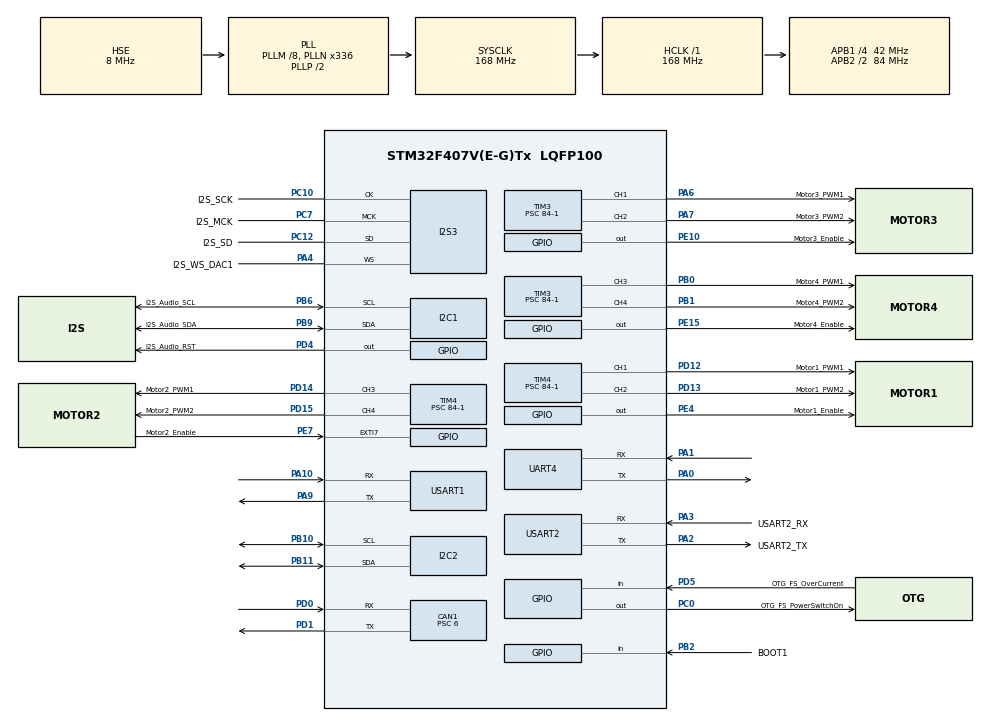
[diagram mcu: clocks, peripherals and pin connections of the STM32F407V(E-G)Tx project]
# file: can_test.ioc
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CAN1.BS1=CAN_BS1_11TQ
CAN1.BS2=CAN_BS2_2TQ
CAN1.CalculateBaudRate=500000
CAN1.CalculateTimeBit=2000
CAN1.CalculateTimeQuantum=142.85714285714286
CAN1.Prescaler=6
I2S3.AudioFreq-Half_Duplex_Master=I2S_AUDIOFREQ_96K
I2S3.ErrorAudioFreq=-2.34 %
I2S3.ErrorAudioFreq-Half_Duplex_Master=0.8 %
I2S3.FullDuplexMode=I2S_FULLDUPLEXMODE_DISABLE
I2S3.Instance=SPI$Index
I2S3.RealAudioFreq=93.75 KHz
I2S3.RealAudioFreq-Half_Duplex_Master=96.774 KHz
I2S3.VirtualMode=I2S_MODE_MASTER
Mcu.Family=STM32F4
Mcu.Name=STM32F407V(E-G)Tx
Mcu.Package=LQFP100
NVIC.CAN1_RX0_IRQn=true\:0\:0\:false\:false\:true\:true\:true\:true
NVIC.PriorityGroup=NVIC_PRIORITYGROUP_0
NVIC.TIM1_UP_TIM10_IRQn=true\:0\:0\:false\:false\:true\:true\:true\:true
NVIC.USART2_IRQn=true\:0\:0\:false\:false\:true\:true\:true\:true
PA0-WKUP.Mode=Asynchronous
PA0-WKUP.Signal=UART4_TX
PA1.Mode=Asynchronous
PA1.Signal=UART4_RX
PA10.Mode=Asynchronous
PA10.Signal=USART1_RX
PA13.GPIO_Label=SWDIO
PA13.Mode=Serial_Wire
PA13.Signal=SYS_JTMS-SWDIO
PA14.GPIO_Label=SWCLK
PA14.Mode=Serial_Wire
PA14.Signal=SYS_JTCK-SWCLK
PA2.GPIO_Label=USART2_TX
PA2.Mode=Asynchronous
PA2.Signal=USART2_TX
PA3.GPIO_Label=USART2_RX
PA3.Mode=Asynchronous
PA3.Signal=USART2_RX
PA4.GPIO_Label=I2S_WS_DAC1
PA4.GPIO_Mode=GPIO_MODE_AF_PP
PA4.GPIO_PuPd=GPIO_NOPULL
PA4.GPIO_Speed=GPIO_SPEED_FREQ_LOW
PA4.Mode=Half_Duplex_Master
PA4.Signal=I2S3_WS
PA6.GPIO_Label=Motor3_PWM1
PA6.Signal=S_TIM3_CH1
PA7.GPIO_Label=Motor3_PWM2
PA7.Signal=S_TIM3_CH2
PA9.Mode=Asynchronous
PA9.Signal=USART1_TX
PB0.GPIO_Label=Motor4_PWM1
PB0.Signal=S_TIM3_CH3
PB1.GPIO_Label=Motor4_PWM2
PB1.Signal=S_TIM3_CH4
PB10.Mode=I2C
PB10.Signal=I2C2_SCL
PB11.Mode=I2C
PB11.Signal=I2C2_SDA
PB2.GPIO_Label=BOOT1
PB2.GPIO_Mode=GPIO_MODE_INPUT
PB2.GPIO_PuPd=GPIO_NOPULL
PB2.Signal=GPIO_Input
PB6.GPIO_Label=I2S_Audio_SCL
PB6.GPIO_Mode=GPIO_MODE_AF_OD
PB6.GPIO_Pu=GPIO_PULLUP
PB6.GPIO_PuPd=GPIO_NOPULL
PB6.GPIO_Speed=GPIO_SPEED_FREQ_LOW
PB6.Mode=I2C
PB6.Signal=I2C1_SCL
PB9.GPIO_Label=I2S_Audio_SDA
PB9.GPIO_Mode=GPIO_MODE_AF_OD
PB9.GPIO_Pu=GPIO_PULLUP
PB9.GPIO_PuPd=GPIO_NOPULL
PB9.GPIO_Speed=GPIO_SPEED_FREQ_LOW
PB9.Mode=I2C
PB9.Signal=I2C1_SDA
PC0.GPIO_Label=OTG_FS_PowerSwitchOn
PC0.GPIO_PuPd=GPIO_NOPULL
PC0.GPIO_Speed=GPIO_SPEED_FREQ_LOW
PC0.PinState=GPIO_PIN_SET
PC0.Signal=GPIO_Output
PC10.GPIO_Label=I2S_SCK
PC10.GPIO_Mode=GPIO_MODE_AF_PP
PC10.GPIO_PuPd=GPIO_NOPULL
PC10.GPIO_Speed=GPIO_SPEED_FREQ_LOW
PC10.Mode=Half_Duplex_Master
PC10.Signal=I2S3_CK
PC12.GPIO_Label=I2S_SD
PC12.GPIO_Mode=GPIO_MODE_AF_PP
PC12.GPIO_PuPd=GPIO_NOPULL
PC12.GPIO_Speed=GPIO_SPEED_FREQ_LOW
PC12.Mode=Half_Duplex_Master
PC12.Signal=I2S3_SD
PC14-OSC32_IN.GPIO_Label=PC14-OSC32_IN
PC14-OSC32_IN.Mode=LSE-External-Oscillator
PC14-OSC32_IN.Signal=RCC_OSC32_IN
PC15-OSC32_OUT.GPIO_Label=PC15-OSC32_OUT
PC15-OSC32_OUT.Mode=LSE-External-Oscillator
PC15-OSC32_OUT.Signal=RCC_OSC32_OUT
PC7.GPIO_Label=I2S_MCK
PC7.GPIO_Mode=GPIO_MODE_AF_PP
PC7.GPIO_PuPd=GPIO_NOPULL
PC7.GPIO_Speed=GPIO_SPEED_FREQ_LOW
PC7.Mode=Master_Clock_Activated
PC7.Signal=I2S3_MCK
PD0.Mode=CAN_Activate
PD0.Signal=CAN1_RX
PD1.Mode=CAN_Activate
PD1.Signal=CAN1_TX
PD12.GPIO_Label=Motor1_PWM1
PD12.Signal=S_TIM4_CH1
PD13.GPIO_Label=Motor1_PWM2
PD13.Signal=S_TIM4_CH2
PD14.GPIO_Label=Motor2_PWM1
PD14.Signal=S_TIM4_CH3
PD15.GPIO_Label=Motor2_PWM2
PD15.Signal=S_TIM4_CH4
PD4.GPIO_Label=I2S_Audio_RST
PD4.GPIO_PuPd=GPIO_NOPULL
PD4.GPIO_Speed=GPIO_SPEED_FREQ_LOW
PD4.Signal=GPIO_Output
PD5.GPIO_Label=OTG_FS_OverCurrent
PD5.GPIO_Mode=GPIO_MODE_INPUT
PD5.GPIO_PuPd=GPIO_NOPULL
PD5.Signal=GPIO_Input
PE10.GPIO_Label=Motor3_Enable
PE10.Signal=GPIO_Output
PE15.GPIO_Label=Motor4_Enable
PE15.Signal=GPIO_Output
PE4.GPIO_Label=Motor1_Enable
PE4.Signal=GPIO_Output
PE7.GPIO_Label=Motor2_Enable
PE7.Signal=GPXTI7
PH0-OSC_IN.GPIO_Label=PH0-OSC_IN
PH0-OSC_IN.Mode=HSE-External-Oscillator
PH0-OSC_IN.Signal=RCC_OSC_IN
PH1-OSC_OUT.GPIO_Label=PH1-OSC_OUT
PH1-OSC_OUT.Mode=HSE-External-Oscillator
PH1-OSC_OUT.Signal=RCC_OSC_OUT
ProjectManager.HeapSize=0x200
ProjectManager.StackSize=0x400
ProjectManager.TargetToolchain=STM32CubeIDE
RCC.48MHZClocksFreq_Value=48000000
RCC.AHBFreq_Value=168000000
RCC.APB1CLKDivider=RCC_HCLK_DIV4
RCC.APB1Freq_Value=42000000
RCC.APB1TimFreq_Value=84000000
RCC.APB2CLKDivider=RCC_HCLK_DIV2
RCC.APB2Freq_Value=84000000
RCC.APB2TimFreq_Value=168000000
RCC.CortexFreq_Value=168000000
RCC.HCLKFreq_Value=168000000
RCC.HSE_VALUE=8000000
RCC.HSI_VALUE=16000000
RCC.PLLM=8
RCC.PLLN=336
RCC.PLLQ=7
RCC.PLLSourceVirtual=RCC_PLLSOURCE_HSE
RCC.SYSCLKFreq_VALUE=168000000
RCC.SYSCLKSource=RCC_SYSCLKSOURCE_PLLCLK
RCC.VCOOutputFreq_Value=336000000
SH.S_TIM3_CH1.0=TIM3_CH1,PWM Generation1 CH1
SH.S_TIM3_CH2.0=TIM3_CH2,PWM Generation2 CH2
SH.S_TIM3_CH3.0=TIM3_CH3,PWM Generation3 CH3
SH.S_TIM3_CH4.0=TIM3_CH4,PWM Generation4 CH4
SH.S_TIM4_CH1.0=TIM4_CH1,PWM Generation1 CH1
SH.S_TIM4_CH2.0=TIM4_CH2,PWM Generation2 CH2
SH.S_TIM4_CH3.0=TIM4_CH3,PWM Generation3 CH3
SH.S_TIM4_CH4.0=TIM4_CH4,PWM Generation4 CH4
TIM1.Period=10000-1
TIM1.Prescaler=1680-1
TIM1.TIM_MasterOutputTrigger=TIM_TRGO_UPDATE
TIM3.Channel-PWM\ Generation1\ CH1=TIM_CHANNEL_1
TIM3.Channel-PWM\ Generation2\ CH2=TIM_CHANNEL_2
TIM3.Channel-PWM\ Generation3\ CH3=TIM_CHANNEL_3
TIM3.Channel-PWM\ Generation4\ CH4=TIM_CHANNEL_4
TIM3.Period=100-1
TIM3.Prescaler=84-1
TIM4.Channel-PWM\ Generation1\ CH1=TIM_CHANNEL_1
TIM4.Channel-PWM\ Generation2\ CH2=TIM_CHANNEL_2
TIM4.Channel-PWM\ Generation3\ CH3=TIM_CHANNEL_3
TIM4.Channel-PWM\ Generation4\ CH4=TIM_CHANNEL_4
TIM4.Period=100-1
TIM4.Prescaler=84-1
UART4.VirtualMode=Asynchronous
USART1.VirtualMode=VM_ASYNC
USART2.VirtualMode=VM_ASYNC
VP_TIM1_VS_ClockSourceINT.Mode=Internal
VP_TIM3_VS_ClockSourceINT.Mode=Internal
VP_TIM4_VS_ClockSourceINT.Mode=Internal
board=STM32F407G-DISC1

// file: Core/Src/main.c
/* USER CODE BEGIN Header */
/**
  ******************************************************************************
  * @file           : main.c
  * @brief          : Main program body
  ******************************************************************************
  * @attention
  *
  * Copyright (c) 2023 STMicroelectronics.
  * All rights reserved.
  *
  * This software is licensed under terms that can be found in the LICENSE file
  * in the root directory of this software component.
  * If no LICENSE file comes with this software, it is provided AS-IS.
  *
  ******************************************************************************
  */
/* USER CODE END Header */
#include "main.h"

CAN_HandleTypeDef hcan1;

I2C_HandleTypeDef hi2c1;
I2C_HandleTypeDef hi2c2;

I2S_HandleTypeDef hi2s3;

TIM_HandleTypeDef htim1;
TIM_HandleTypeDef htim3;
TIM_HandleTypeDef htim4;

UART_HandleTypeDef huart4;
UART_HandleTypeDef huart1;
UART_HandleTypeDef huart2;

/* USER CODE BEGIN PV */
CAN_RxHeaderTypeDef rxHeader; //CAN Bus Transmit Header
CAN_TxHeaderTypeDef txHeader; //CAN Bus Receive Header
uint8_t canRX[8] = {0,0,0,0,0,0,0,0};  //CAN Bus Receive Buffer
CAN_FilterTypeDef canfil; //CAN Bus Filter
uint32_t canMailbox; //CAN Bus Mail box variable

/* USER CODE END PV */

void SystemClock_Config(void);
static void MX_GPIO_Init(void);
static void MX_I2C1_Init(void);
static void MX_I2S3_Init(void);
static void MX_I2C2_Init(void);
static void MX_TIM3_Init(void);
static void MX_TIM4_Init(void);
static void MX_UART4_Init(void);
static void MX_USART1_UART_Init(void);
static void MX_USART2_UART_Init(void);
static void MX_CAN1_Init(void);
static void MX_TIM1_Init(void);

/* USER CODE BEGIN 0 */
void HAL_CAN_RxFifo0MsgPendingCallback(CAN_HandleTypeDef *hcan1)
{
	HAL_CAN_GetRxMessage(hcan1, CAN_RX_FIFO0, &rxHeader, canRX); //Receive CAN bus message to canRX buffer
}

void HAL_TIM_PeriodElapsedCallback(TIM_HandleTypeDef *htim)
{
	if(htim->Instance == htim1.Instance)
	{
		uint8_t csend[] = {0x01,0x02,0x03,0x04,0x05,0x06,0x07,0x08}; // Tx Buffer
		HAL_CAN_AddTxMessage(&hcan1,&txHeader,csend,&canMailbox); // Send Message
	}
}
/* USER CODE END 0 */

int main(void)
{

  /* MCU Configuration--------------------------------------------------------*/

  /* Reset of all peripherals, Initializes the Flash interface and the Systick. */
  HAL_Init();

  /* Configure the system clock */
  SystemClock_Config();

  /* Initialize all configured peripherals */
  MX_GPIO_Init();
  MX_I2C1_Init();
  MX_I2S3_Init();
  MX_I2C2_Init();
  MX_TIM3_Init();
  MX_TIM4_Init();
  MX_UART4_Init();
  MX_USART1_UART_Init();
  MX_USART2_UART_Init();
  MX_CAN1_Init();
  MX_TIM1_Init();
  /* USER CODE BEGIN 2 */
  canfil.FilterBank = 0;
  canfil.FilterMode = CAN_FILTERMODE_IDMASK;
  canfil.FilterFIFOAssignment = CAN_RX_FIFO0;
  canfil.FilterIdHigh = 0;
  canfil.FilterIdLow = 0;
  canfil.FilterMaskIdHigh = 0;
  canfil.FilterMaskIdLow = 0;
  canfil.FilterScale = CAN_FILTERSCALE_32BIT;
  canfil.FilterActivation = ENABLE;
  canfil.SlaveStartFilterBank = 14;

  txHeader.DLC = 8; // Number of bites to be transmitted max- 8
  txHeader.IDE = CAN_ID_STD;
  txHeader.RTR = CAN_RTR_DATA;
  txHeader.StdId = 0x030;
  txHeader.ExtId = 0x02;
  txHeader.TransmitGlobalTime = DISABLE;

  HAL_CAN_ConfigFilter(&hcan1,&canfil); //Initialize CAN Filter
  HAL_CAN_Start(&hcan1); //Initialize CAN Bus
  HAL_CAN_ActivateNotification(&hcan1,CAN_IT_RX_FIFO0_MSG_PENDING);// Initialize CAN Bus Rx Interrupt

  HAL_TIM_Base_Start_IT(&htim1);
  /* USER CODE END 2 */

  /* Infinite loop */
  while (1)
  {

  }
}

void SystemClock_Config(void)
{
  RCC_OscInitTypeDef RCC_OscInitStruct = {0};
  RCC_ClkInitTypeDef RCC_ClkInitStruct = {0};

  /** Configure the main internal regulator output voltage
  */
  __HAL_RCC_PWR_CLK_ENABLE();
  __HAL_PWR_VOLTAGESCALING_CONFIG(PWR_REGULATOR_VOLTAGE_SCALE1);

  /** Initializes the RCC Oscillators according to the specified parameters
  * in the RCC_OscInitTypeDef structure.
  */
  RCC_OscInitStruct.OscillatorType = RCC_OSCILLATORTYPE_HSE;
  RCC_OscInitStruct.HSEState = RCC_HSE_ON;
  RCC_OscInitStruct.PLL.PLLState = RCC_PLL_ON;
  RCC_OscInitStruct.PLL.PLLSource = RCC_PLLSOURCE_HSE;
  RCC_OscInitStruct.PLL.PLLM = 8;
  RCC_OscInitStruct.PLL.PLLN = 336;
  RCC_OscInitStruct.PLL.PLLP = RCC_PLLP_DIV2;
  RCC_OscInitStruct.PLL.PLLQ = 7;
  if (HAL_RCC_OscConfig(&RCC_OscInitStruct) != HAL_OK)
  {
    Error_Handler();
  }

  /** Initializes the CPU, AHB and APB buses clocks
  */
  RCC_ClkInitStruct.ClockType = RCC_CLOCKTYPE_HCLK|RCC_CLOCKTYPE_SYSCLK
                              |RCC_CLOCKTYPE_PCLK1|RCC_CLOCKTYPE_PCLK2;
  RCC_ClkInitStruct.SYSCLKSource = RCC_SYSCLKSOURCE_PLLCLK;
  RCC_ClkInitStruct.AHBCLKDivider = RCC_SYSCLK_DIV1;
  RCC_ClkInitStruct.APB1CLKDivider = RCC_HCLK_DIV4;
  RCC_ClkInitStruct.APB2CLKDivider = RCC_HCLK_DIV2;

  if (HAL_RCC_ClockConfig(&RCC_ClkInitStruct, FLASH_LATENCY_5) != HAL_OK)
  {
    Error_Handler();
  }
}

static void MX_CAN1_Init(void)
{

  hcan1.Instance = CAN1;
  hcan1.Init.Prescaler = 6;
  hcan1.Init.Mode = CAN_MODE_NORMAL;
  hcan1.Init.SyncJumpWidth = CAN_SJW_1TQ;
  hcan1.Init.TimeSeg1 = CAN_BS1_11TQ;
  hcan1.Init.TimeSeg2 = CAN_BS2_2TQ;
  hcan1.Init.TimeTriggeredMode = DISABLE;
  hcan1.Init.AutoBusOff = DISABLE;
  hcan1.Init.AutoWakeUp = DISABLE;
  hcan1.Init.AutoRetransmission = DISABLE;
  hcan1.Init.ReceiveFifoLocked = DISABLE;
  hcan1.Init.TransmitFifoPriority = DISABLE;
  if (HAL_CAN_Init(&hcan1) != HAL_OK)
  {
    Error_Handler();
  }

}

static void MX_I2C1_Init(void)
{

  hi2c1.Instance = I2C1;
  hi2c1.Init.ClockSpeed = 100000;
  hi2c1.Init.DutyCycle = I2C_DUTYCYCLE_2;
  hi2c1.Init.OwnAddress1 = 0;
  hi2c1.Init.AddressingMode = I2C_ADDRESSINGMODE_7BIT;
  hi2c1.Init.DualAddressMode = I2C_DUALADDRESS_DISABLE;
  hi2c1.Init.OwnAddress2 = 0;
  hi2c1.Init.GeneralCallMode = I2C_GENERALCALL_DISABLE;
  hi2c1.Init.NoStretchMode = I2C_NOSTRETCH_DISABLE;
  if (HAL_I2C_Init(&hi2c1) != HAL_OK)
  {
    Error_Handler();
  }

}

static void MX_I2C2_Init(void)
{

  hi2c2.Instance = I2C2;
  hi2c2.Init.ClockSpeed = 100000;
  hi2c2.Init.DutyCycle = I2C_DUTYCYCLE_2;
  hi2c2.Init.OwnAddress1 = 0;
  hi2c2.Init.AddressingMode = I2C_ADDRESSINGMODE_7BIT;
  hi2c2.Init.DualAddressMode = I2C_DUALADDRESS_DISABLE;
  hi2c2.Init.OwnAddress2 = 0;
  hi2c2.Init.GeneralCallMode = I2C_GENERALCALL_DISABLE;
  hi2c2.Init.NoStretchMode = I2C_NOSTRETCH_DISABLE;
  if (HAL_I2C_Init(&hi2c2) != HAL_OK)
  {
    Error_Handler();
  }

}

static void MX_I2S3_Init(void)
{

  hi2s3.Instance = SPI3;
  hi2s3.Init.Mode = I2S_MODE_MASTER_TX;
  hi2s3.Init.Standard = I2S_STANDARD_PHILIPS;
  hi2s3.Init.DataFormat = I2S_DATAFORMAT_16B;
  hi2s3.Init.MCLKOutput = I2S_MCLKOUTPUT_ENABLE;
  hi2s3.Init.AudioFreq = I2S_AUDIOFREQ_96K;
  hi2s3.Init.CPOL = I2S_CPOL_LOW;
  hi2s3.Init.ClockSource = I2S_CLOCK_PLL;
  hi2s3.Init.FullDuplexMode = I2S_FULLDUPLEXMODE_DISABLE;
  if (HAL_I2S_Init(&hi2s3) != HAL_OK)
  {
    Error_Handler();
  }

}

static void MX_TIM1_Init(void)
{

  TIM_ClockConfigTypeDef sClockSourceConfig = {0};
  TIM_MasterConfigTypeDef sMasterConfig = {0};

  htim1.Instance = TIM1;
  htim1.Init.Prescaler = 1680-1;
  htim1.Init.CounterMode = TIM_COUNTERMODE_UP;
  htim1.Init.Period = 10000-1;
  htim1.Init.ClockDivision = TIM_CLOCKDIVISION_DIV1;
  htim1.Init.RepetitionCounter = 0;
  htim1.Init.AutoReloadPreload = TIM_AUTORELOAD_PRELOAD_DISABLE;
  if (HAL_TIM_Base_Init(&htim1) != HAL_OK)
  {
    Error_Handler();
  }
  sClockSourceConfig.ClockSource = TIM_CLOCKSOURCE_INTERNAL;
  if (HAL_TIM_ConfigClockSource(&htim1, &sClockSourceConfig) != HAL_OK)
  {
    Error_Handler();
  }
  sMasterConfig.MasterOutputTrigger = TIM_TRGO_UPDATE;
  sMasterConfig.MasterSlaveMode = TIM_MASTERSLAVEMODE_DISABLE;
  if (HAL_TIMEx_MasterConfigSynchronization(&htim1, &sMasterConfig) != HAL_OK)
  {
    Error_Handler();
  }

}

static void MX_TIM3_Init(void)
{

  TIM_ClockConfigTypeDef sClockSourceConfig = {0};
  TIM_MasterConfigTypeDef sMasterConfig = {0};
  TIM_OC_InitTypeDef sConfigOC = {0};

  htim3.Instance = TIM3;
  htim3.Init.Prescaler = 84-1;
  htim3.Init.CounterMode = TIM_COUNTERMODE_UP;
  htim3.Init.Period = 100-1;
  htim3.Init.ClockDivision = TIM_CLOCKDIVISION_DIV1;
  htim3.Init.AutoReloadPreload = TIM_AUTORELOAD_PRELOAD_DISABLE;
  if (HAL_TIM_Base_Init(&htim3) != HAL_OK)
  {
    Error_Handler();
  }
  sClockSourceConfig.ClockSource = TIM_CLOCKSOURCE_INTERNAL;
  if (HAL_TIM_ConfigClockSource(&htim3, &sClockSourceConfig) != HAL_OK)
  {
    Error_Handler();
  }
  if (HAL_TIM_PWM_Init(&htim3) != HAL_OK)
  {
    Error_Handler();
  }
  sMasterConfig.MasterOutputTrigger = TIM_TRGO_RESET;
  sMasterConfig.MasterSlaveMode = TIM_MASTERSLAVEMODE_DISABLE;
  if (HAL_TIMEx_MasterConfigSynchronization(&htim3, &sMasterConfig) != HAL_OK)
  {
    Error_Handler();
  }
  sConfigOC.OCMode = TIM_OCMODE_PWM1;
  sConfigOC.Pulse = 0;
  sConfigOC.OCPolarity = TIM_OCPOLARITY_HIGH;
  sConfigOC.OCFastMode = TIM_OCFAST_DISABLE;
  if (HAL_TIM_PWM_ConfigChannel(&htim3, &sConfigOC, TIM_CHANNEL_1) != HAL_OK)
  {
    Error_Handler();
  }
  if (HAL_TIM_PWM_ConfigChannel(&htim3, &sConfigOC, TIM_CHANNEL_2) != HAL_OK)
  {
    Error_Handler();
  }
  if (HAL_TIM_PWM_ConfigChannel(&htim3, &sConfigOC, TIM_CHANNEL_3) != HAL_OK)
  {
    Error_Handler();
  }
  if (HAL_TIM_PWM_ConfigChannel(&htim3, &sConfigOC, TIM_CHANNEL_4) != HAL_OK)
  {
    Error_Handler();
  }
  HAL_TIM_MspPostInit(&htim3);

}

static void MX_TIM4_Init(void)
{

  TIM_ClockConfigTypeDef sClockSourceConfig = {0};
  TIM_MasterConfigTypeDef sMasterConfig = {0};
  TIM_OC_InitTypeDef sConfigOC = {0};

  htim4.Instance = TIM4;
  htim4.Init.Prescaler = 84-1;
  htim4.Init.CounterMode = TIM_COUNTERMODE_UP;
  htim4.Init.Period = 100-1;
  htim4.Init.ClockDivision = TIM_CLOCKDIVISION_DIV1;
  htim4.Init.AutoReloadPreload = TIM_AUTORELOAD_PRELOAD_DISABLE;
  if (HAL_TIM_Base_Init(&htim4) != HAL_OK)
  {
    Error_Handler();
  }
  sClockSourceConfig.ClockSource = TIM_CLOCKSOURCE_INTERNAL;
  if (HAL_TIM_ConfigClockSource(&htim4, &sClockSourceConfig) != HAL_OK)
  {
    Error_Handler();
  }
  if (HAL_TIM_PWM_Init(&htim4) != HAL_OK)
  {
    Error_Handler();
  }
  sMasterConfig.MasterOutputTrigger = TIM_TRGO_RESET;
  sMasterConfig.MasterSlaveMode = TIM_MASTERSLAVEMODE_DISABLE;
  if (HAL_TIMEx_MasterConfigSynchronization(&htim4, &sMasterConfig) != HAL_OK)
  {
    Error_Handler();
  }
  sConfigOC.OCMode = TIM_OCMODE_PWM1;
  sConfigOC.Pulse = 0;
  sConfigOC.OCPolarity = TIM_OCPOLARITY_HIGH;
  sConfigOC.OCFastMode = TIM_OCFAST_DISABLE;
  if (HAL_TIM_PWM_ConfigChannel(&htim4, &sConfigOC, TIM_CHANNEL_1) != HAL_OK)
  {
    Error_Handler();
  }
  if (HAL_TIM_PWM_ConfigChannel(&htim4, &sConfigOC, TIM_CHANNEL_2) != HAL_OK)
  {
    Error_Handler();
  }
  if (HAL_TIM_PWM_ConfigChannel(&htim4, &sConfigOC, TIM_CHANNEL_3) != HAL_OK)
  {
    Error_Handler();
  }
  if (HAL_TIM_PWM_ConfigChannel(&htim4, &sConfigOC, TIM_CHANNEL_4) != HAL_OK)
  {
    Error_Handler();
  }
  HAL_TIM_MspPostInit(&htim4);

}

static void MX_UART4_Init(void)
{

  huart4.Instance = UART4;
  huart4.Init.BaudRate = 115200;
  huart4.Init.WordLength = UART_WORDLENGTH_8B;
  huart4.Init.StopBits = UART_STOPBITS_1;
  huart4.Init.Parity = UART_PARITY_NONE;
  huart4.Init.Mode = UART_MODE_TX_RX;
  huart4.Init.HwFlowCtl = UART_HWCONTROL_NONE;
  huart4.Init.OverSampling = UART_OVERSAMPLING_16;
  if (HAL_UART_Init(&huart4) != HAL_OK)
  {
    Error_Handler();
  }

}

static void MX_USART1_UART_Init(void)
{

  huart1.Instance = USART1;
  huart1.Init.BaudRate = 115200;
  huart1.Init.WordLength = UART_WORDLENGTH_8B;
  huart1.Init.StopBits = UART_STOPBITS_1;
  huart1.Init.Parity = UART_PARITY_NONE;
  huart1.Init.Mode = UART_MODE_TX_RX;
  huart1.Init.HwFlowCtl = UART_HWCONTROL_NONE;
  huart1.Init.OverSampling = UART_OVERSAMPLING_16;
  if (HAL_UART_Init(&huart1) != HAL_OK)
  {
    Error_Handler();
  }

}

static void MX_USART2_UART_Init(void)
{

  huart2.Instance = USART2;
  huart2.Init.BaudRate = 115200;
  huart2.Init.WordLength = UART_WORDLENGTH_8B;
  huart2.Init.StopBits = UART_STOPBITS_1;
  huart2.Init.Parity = UART_PARITY_NONE;
  huart2.Init.Mode = UART_MODE_TX_RX;
  huart2.Init.HwFlowCtl = UART_HWCONTROL_NONE;
  huart2.Init.OverSampling = UART_OVERSAMPLING_16;
  if (HAL_UART_Init(&huart2) != HAL_OK)
  {
    Error_Handler();
  }

}

static void MX_GPIO_Init(void)
{
  GPIO_InitTypeDef GPIO_InitStruct = {0};

  /* GPIO Ports Clock Enable */
  __HAL_RCC_GPIOE_CLK_ENABLE();
  __HAL_RCC_GPIOC_CLK_ENABLE();
  __HAL_RCC_GPIOH_CLK_ENABLE();
  __HAL_RCC_GPIOA_CLK_ENABLE();
  __HAL_RCC_GPIOB_CLK_ENABLE();
  __HAL_RCC_GPIOD_CLK_ENABLE();

  /*Configure GPIO pin Output Level */
  HAL_GPIO_WritePin(GPIOE, Motor1_Enable_Pin|Motor3_Enable_Pin|Motor4_Enable_Pin, GPIO_PIN_RESET);

  /*Configure GPIO pin Output Level */
  HAL_GPIO_WritePin(OTG_FS_PowerSwitchOn_GPIO_Port, OTG_FS_PowerSwitchOn_Pin, GPIO_PIN_SET);

  /*Configure GPIO pin Output Level */
  HAL_GPIO_WritePin(I2S_Audio_RST_GPIO_Port, I2S_Audio_RST_Pin, GPIO_PIN_RESET);

  /*Configure GPIO pins : Motor1_Enable_Pin Motor3_Enable_Pin Motor4_Enable_Pin */
  GPIO_InitStruct.Pin = Motor1_Enable_Pin|Motor3_Enable_Pin|Motor4_Enable_Pin;
  GPIO_InitStruct.Mode = GPIO_MODE_OUTPUT_PP;
  GPIO_InitStruct.Pull = GPIO_NOPULL;
  GPIO_InitStruct.Speed = GPIO_SPEED_FREQ_LOW;
  HAL_GPIO_Init(GPIOE, &GPIO_InitStruct);

  /*Configure GPIO pin : OTG_FS_PowerSwitchOn_Pin */
  GPIO_InitStruct.Pin = OTG_FS_PowerSwitchOn_Pin;
  GPIO_InitStruct.Mode = GPIO_MODE_OUTPUT_PP;
  GPIO_InitStruct.Pull = GPIO_NOPULL;
  GPIO_InitStruct.Speed = GPIO_SPEED_FREQ_LOW;
  HAL_GPIO_Init(OTG_FS_PowerSwitchOn_GPIO_Port, &GPIO_InitStruct);

  /*Configure GPIO pin : BOOT1_Pin */
  GPIO_InitStruct.Pin = BOOT1_Pin;
  GPIO_InitStruct.Mode = GPIO_MODE_INPUT;
  GPIO_InitStruct.Pull = GPIO_NOPULL;
  HAL_GPIO_Init(BOOT1_GPIO_Port, &GPIO_InitStruct);

  /*Configure GPIO pin : Motor2_Enable_Pin */
  GPIO_InitStruct.Pin = Motor2_Enable_Pin;
  GPIO_InitStruct.Mode = GPIO_MODE_IT_RISING;
  GPIO_InitStruct.Pull = GPIO_NOPULL;
  HAL_GPIO_Init(Motor2_Enable_GPIO_Port, &GPIO_InitStruct);

  /*Configure GPIO pin : I2S_Audio_RST_Pin */
  GPIO_InitStruct.Pin = I2S_Audio_RST_Pin;
  GPIO_InitStruct.Mode = GPIO_MODE_OUTPUT_PP;
  GPIO_InitStruct.Pull = GPIO_NOPULL;
  GPIO_InitStruct.Speed = GPIO_SPEED_FREQ_LOW;
  HAL_GPIO_Init(I2S_Audio_RST_GPIO_Port, &GPIO_InitStruct);

  /*Configure GPIO pin : OTG_FS_OverCurrent_Pin */
  GPIO_InitStruct.Pin = OTG_FS_OverCurrent_Pin;
  GPIO_InitStruct.Mode = GPIO_MODE_INPUT;
  GPIO_InitStruct.Pull = GPIO_NOPULL;
  HAL_GPIO_Init(OTG_FS_OverCurrent_GPIO_Port, &GPIO_InitStruct);

}

void Error_Handler(void)
{
  __disable_irq();
  while (1)
  {
  }
}
